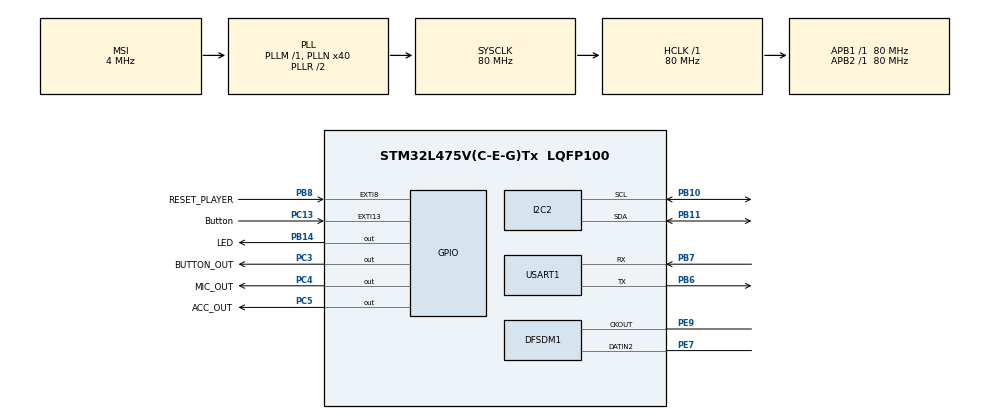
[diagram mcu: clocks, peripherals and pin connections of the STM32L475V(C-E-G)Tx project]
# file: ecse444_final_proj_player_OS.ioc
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DFSDM1.Divider=25
DFSDM1.FastMode_reg_FIL0=ENABLE
DFSDM1.FastMode_reg_FIL1=ENABLE
DFSDM1.Filter_regChannel_FIL0=DFSDM_CHANNEL_1
DFSDM1.Filter_regChannel_FIL1=DFSDM_CHANNEL_2
DFSDM1.Fosr_FIL0=200
DFSDM1.Fosr_FIL1=200
FREERTOS.Tasks01=defaultTask,0,128,StartDefaultTask,Default,NULL,Dynamic,NULL,NULL;accelerometer,0,128,start_accelero,Default,NULL,Dynamic,NULL,NULL;button,0,128,start_button,Default,NULL,Dynamic,NULL,NULL;microphone,0,128,start_mic,Default,NULL,Dynamic,NULL,NULL
I2C2.Timing=0x10909CEC
Mcu.Family=STM32L4
Mcu.Name=STM32L475V(C-E-G)Tx
Mcu.Package=LQFP100
NVIC.EXTI15_10_IRQn=true\:5\:0\:false\:false\:true\:true\:true\:true
NVIC.EXTI9_5_IRQn=true\:5\:0\:false\:false\:true\:true\:true\:true
NVIC.PriorityGroup=NVIC_PRIORITYGROUP_4
NVIC.TIM1_TRG_COM_TIM17_IRQn=true\:15\:0\:false\:false\:true\:false\:false\:true
NVIC.TimeBase=TIM1_TRG_COM_TIM17_IRQn
NVIC.TimeBaseIP=TIM17
PA13\ (JTMS-SWDIO).Mode=Trace_Asynchronous_SW
PA13\ (JTMS-SWDIO).Signal=SYS_JTMS-SWDIO
PA14\ (JTCK-SWCLK).Mode=Trace_Asynchronous_SW
PA14\ (JTCK-SWCLK).Signal=SYS_JTCK-SWCLK
PB10.Mode=I2C
PB10.Signal=I2C2_SCL
PB11.Mode=I2C
PB11.Signal=I2C2_SDA
PB14.GPIO_Label=LED
PB14.Signal=GPIO_Output
PB3\ (JTDO-TRACESWO).Mode=Trace_Asynchronous_SW
PB3\ (JTDO-TRACESWO).Signal=SYS_JTDO-SWO
PB6.Mode=Asynchronous
PB6.Signal=USART1_TX
PB7.Mode=Asynchronous
PB7.Signal=USART1_RX
PB8.GPIO_Label=RESET_PLAYER
PB8.GPIO_ModeDefaultEXTI=GPIO_MODE_IT_RISING_FALLING
PB8.Signal=GPXTI8
PC13.GPIO_Label=Button
PC13.Signal=GPXTI13
PC3.GPIO_Label=BUTTON_OUT
PC3.Signal=GPIO_Output
PC4.GPIO_Label=MIC_OUT
PC4.Signal=GPIO_Output
PC5.GPIO_Label=ACC_OUT
PC5.Signal=GPIO_Output
PE7.Signal=S_DATAIN2DFSDM1
PE9.Signal=S_CKOUTDFSDM1
ProjectManager.HeapSize=0x200
ProjectManager.StackSize=0x400
ProjectManager.TargetToolchain=STM32CubeIDE
RCC.ADCFreq_Value=48000000
RCC.AHBFreq_Value=80000000
RCC.APB1Freq_Value=80000000
RCC.APB1TimFreq_Value=80000000
RCC.APB2Freq_Value=80000000
RCC.APB2TimFreq_Value=80000000
RCC.CortexFreq_Value=80000000
RCC.HCLKFreq_Value=80000000
RCC.HSE_VALUE=8000000
RCC.HSI_VALUE=16000000
RCC.LSE_VALUE=32768
RCC.MSI_VALUE=4000000
RCC.PLLN=40
RCC.PLLSAI1N=24
RCC.SYSCLKFreq_VALUE=80000000
RCC.SYSCLKSource=RCC_SYSCLKSOURCE_PLLCLK
RCC.USBFreq_Value=48000000
RCC.VCOOutputFreq_Value=160000000
SH.S_CKOUTDFSDM1.0=DFSDM1_CKOUT,PDM_SPI_input_from_ch2_and_internal_clock
SH.S_CKOUTDFSDM1.1=DFSDM1_CKOUT,PDM_SPI_Input_from_ch12_and_Internal_Clock
SH.S_DATAIN2DFSDM1.0=DFSDM1_DATIN2,PDM_SPI_input_from_ch2_and_internal_clock
SH.S_DATAIN2DFSDM1.1=DFSDM1_DATIN2,PDM_SPI_Input_from_ch12_and_Internal_Clock
USART1.VirtualMode-Asynchronous=VM_ASYNC
VP_FREERTOS_VS_CMSIS_V1.Mode=CMSIS_V1
VP_SYS_VS_tim17.Mode=TIM17
VP_TIM2_VS_ClockSourceINT.Mode=Internal
board=B-L475E-IOT01A1

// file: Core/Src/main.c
/* USER CODE BEGIN Header */
/**
  ******************************************************************************
  * @file           : main.c
  * @brief          : Main program body
  ******************************************************************************
  * @attention
  *
  * <h2><center>&copy; Copyright (c) 2021 STMicroelectronics.
  * All rights reserved.</center></h2>
  *
  * This software component is licensed by ST under BSD 3-Clause license,
  * the "License"; You may not use this file except in compliance with the
  * License. You may obtain a copy of the License at:
  *                        opensource.org/licenses/BSD-3-Clause
  *
  ******************************************************************************
  */
/* USER CODE END Header */
#include "main.h"
#include "cmsis_os.h"

/* USER CODE BEGIN Includes */
#include "stm32l475e_iot01.h"
#include "stm32l475e_iot01_accelero.h"

#include <string.h>
#include <stdio.h>
/* USER CODE END Includes */

DFSDM_Filter_HandleTypeDef hdfsdm1_filter0;
DFSDM_Filter_HandleTypeDef hdfsdm1_filter1;
DFSDM_Channel_HandleTypeDef hdfsdm1_channel1;
DFSDM_Channel_HandleTypeDef hdfsdm1_channel2;

I2C_HandleTypeDef hi2c2;

TIM_HandleTypeDef htim2;

UART_HandleTypeDef huart1;

osThreadId defaultTaskHandle;
osThreadId accelerometerHandle;
osThreadId buttonHandle;
osThreadId microphoneHandle;
/* USER CODE BEGIN PV */
uint32_t sensor_number = 1; // 0 for accelerometer, 1 for number_of_turns
char uart_buffer[1000];

int16_t accelero_XYZ[3] = {0};
int32_t prev_accel = 0;
volatile uint32_t number_of_turns = 0;

uint32_t channel_1 = 1, channel_2 = 2;
int32_t value1, value2;
int32_t threshold = 10;

volatile uint8_t count = 0;

/* USER CODE END PV */

void SystemClock_Config(void);
static void MX_GPIO_Init(void);
static void MX_I2C2_Init(void);
static void MX_USART1_UART_Init(void);
static void MX_TIM2_Init(void);
static void MX_DFSDM1_Init(void);
void StartDefaultTask(void const * argument);
void start_accelero(void const * argument);
void start_button(void const * argument);
void start_mic(void const * argument);

int main(void)
{

  /* MCU Configuration--------------------------------------------------------*/

  /* Reset of all peripherals, Initializes the Flash interface and the Systick. */
  HAL_Init();

  /* Configure the system clock */
  SystemClock_Config();

  /* Initialize all configured peripherals */
  MX_GPIO_Init();
  MX_I2C2_Init();
  MX_USART1_UART_Init();
  MX_TIM2_Init();
  MX_DFSDM1_Init();
  /* USER CODE BEGIN 2 */

  BSP_ACCELERO_Init();

  /* USER CODE END 2 */

  /* Create the thread(s) */
  /* definition and creation of defaultTask */
  osThreadDef(defaultTask, StartDefaultTask, osPriorityNormal, 0, 128);
  defaultTaskHandle = osThreadCreate(osThread(defaultTask), NULL);

  /* definition and creation of accelerometer */
  osThreadDef(accelerometer, start_accelero, osPriorityNormal, 0, 128);
  accelerometerHandle = osThreadCreate(osThread(accelerometer), NULL);

  /* definition and creation of button */
  osThreadDef(button, start_button, osPriorityNormal, 0, 128);
  buttonHandle = osThreadCreate(osThread(button), NULL);

  /* definition and creation of microphone */
  osThreadDef(microphone, start_mic, osPriorityNormal, 0, 128);
  microphoneHandle = osThreadCreate(osThread(microphone), NULL);

  /* Start scheduler */
  osKernelStart();

  /* We should never get here as control is now taken by the scheduler */
  /* Infinite loop */
  while (1)
  {

  }
}

void SystemClock_Config(void)
{
  RCC_OscInitTypeDef RCC_OscInitStruct = {0};
  RCC_ClkInitTypeDef RCC_ClkInitStruct = {0};

  /** Configure the main internal regulator output voltage
  */
  if (HAL_PWREx_ControlVoltageScaling(PWR_REGULATOR_VOLTAGE_SCALE1) != HAL_OK)
  {
    Error_Handler();
  }
  /** Initializes the RCC Oscillators according to the specified parameters
  * in the RCC_OscInitTypeDef structure.
  */
  RCC_OscInitStruct.OscillatorType = RCC_OSCILLATORTYPE_MSI;
  RCC_OscInitStruct.MSIState = RCC_MSI_ON;
  RCC_OscInitStruct.MSICalibrationValue = 0;
  RCC_OscInitStruct.MSIClockRange = RCC_MSIRANGE_6;
  RCC_OscInitStruct.PLL.PLLState = RCC_PLL_ON;
  RCC_OscInitStruct.PLL.PLLSource = RCC_PLLSOURCE_MSI;
  RCC_OscInitStruct.PLL.PLLM = 1;
  RCC_OscInitStruct.PLL.PLLN = 40;
  RCC_OscInitStruct.PLL.PLLP = RCC_PLLP_DIV7;
  RCC_OscInitStruct.PLL.PLLQ = RCC_PLLQ_DIV2;
  RCC_OscInitStruct.PLL.PLLR = RCC_PLLR_DIV2;
  if (HAL_RCC_OscConfig(&RCC_OscInitStruct) != HAL_OK)
  {
    Error_Handler();
  }
  /** Initializes the CPU, AHB and APB buses clocks
  */
  RCC_ClkInitStruct.ClockType = RCC_CLOCKTYPE_HCLK|RCC_CLOCKTYPE_SYSCLK
                              |RCC_CLOCKTYPE_PCLK1|RCC_CLOCKTYPE_PCLK2;
  RCC_ClkInitStruct.SYSCLKSource = RCC_SYSCLKSOURCE_PLLCLK;
  RCC_ClkInitStruct.AHBCLKDivider = RCC_SYSCLK_DIV1;
  RCC_ClkInitStruct.APB1CLKDivider = RCC_HCLK_DIV1;
  RCC_ClkInitStruct.APB2CLKDivider = RCC_HCLK_DIV1;

  if (HAL_RCC_ClockConfig(&RCC_ClkInitStruct, FLASH_LATENCY_4) != HAL_OK)
  {
    Error_Handler();
  }
}

static void MX_DFSDM1_Init(void)
{

  hdfsdm1_filter0.Instance = DFSDM1_Filter0;
  hdfsdm1_filter0.Init.RegularParam.Trigger = DFSDM_FILTER_SW_TRIGGER;
  hdfsdm1_filter0.Init.RegularParam.FastMode = ENABLE;
  hdfsdm1_filter0.Init.RegularParam.DmaMode = DISABLE;
  hdfsdm1_filter0.Init.FilterParam.SincOrder = DFSDM_FILTER_FASTSINC_ORDER;
  hdfsdm1_filter0.Init.FilterParam.Oversampling = 200;
  hdfsdm1_filter0.Init.FilterParam.IntOversampling = 1;
  if (HAL_DFSDM_FilterInit(&hdfsdm1_filter0) != HAL_OK)
  {
    Error_Handler();
  }
  hdfsdm1_filter1.Instance = DFSDM1_Filter1;
  hdfsdm1_filter1.Init.RegularParam.Trigger = DFSDM_FILTER_SW_TRIGGER;
  hdfsdm1_filter1.Init.RegularParam.FastMode = ENABLE;
  hdfsdm1_filter1.Init.RegularParam.DmaMode = DISABLE;
  hdfsdm1_filter1.Init.FilterParam.SincOrder = DFSDM_FILTER_FASTSINC_ORDER;
  hdfsdm1_filter1.Init.FilterParam.Oversampling = 200;
  hdfsdm1_filter1.Init.FilterParam.IntOversampling = 1;
  if (HAL_DFSDM_FilterInit(&hdfsdm1_filter1) != HAL_OK)
  {
    Error_Handler();
  }
  hdfsdm1_channel1.Instance = DFSDM1_Channel1;
  hdfsdm1_channel1.Init.OutputClock.Activation = ENABLE;
  hdfsdm1_channel1.Init.OutputClock.Selection = DFSDM_CHANNEL_OUTPUT_CLOCK_SYSTEM;
  hdfsdm1_channel1.Init.OutputClock.Divider = 25;
  hdfsdm1_channel1.Init.Input.Multiplexer = DFSDM_CHANNEL_EXTERNAL_INPUTS;
  hdfsdm1_channel1.Init.Input.DataPacking = DFSDM_CHANNEL_STANDARD_MODE;
  hdfsdm1_channel1.Init.Input.Pins = DFSDM_CHANNEL_FOLLOWING_CHANNEL_PINS;
  hdfsdm1_channel1.Init.SerialInterface.Type = DFSDM_CHANNEL_SPI_RISING;
  hdfsdm1_channel1.Init.SerialInterface.SpiClock = DFSDM_CHANNEL_SPI_CLOCK_INTERNAL;
  hdfsdm1_channel1.Init.Awd.FilterOrder = DFSDM_CHANNEL_FASTSINC_ORDER;
  hdfsdm1_channel1.Init.Awd.Oversampling = 1;
  hdfsdm1_channel1.Init.Offset = 0;
  hdfsdm1_channel1.Init.RightBitShift = 0x00;
  if (HAL_DFSDM_ChannelInit(&hdfsdm1_channel1) != HAL_OK)
  {
    Error_Handler();
  }
  hdfsdm1_channel2.Instance = DFSDM1_Channel2;
  hdfsdm1_channel2.Init.OutputClock.Activation = ENABLE;
  hdfsdm1_channel2.Init.OutputClock.Selection = DFSDM_CHANNEL_OUTPUT_CLOCK_SYSTEM;
  hdfsdm1_channel2.Init.OutputClock.Divider = 25;
  hdfsdm1_channel2.Init.Input.Multiplexer = DFSDM_CHANNEL_EXTERNAL_INPUTS;
  hdfsdm1_channel2.Init.Input.DataPacking = DFSDM_CHANNEL_STANDARD_MODE;
  hdfsdm1_channel2.Init.Input.Pins = DFSDM_CHANNEL_SAME_CHANNEL_PINS;
  hdfsdm1_channel2.Init.SerialInterface.Type = DFSDM_CHANNEL_SPI_RISING;
  hdfsdm1_channel2.Init.SerialInterface.SpiClock = DFSDM_CHANNEL_SPI_CLOCK_INTERNAL;
  hdfsdm1_channel2.Init.Awd.FilterOrder = DFSDM_CHANNEL_FASTSINC_ORDER;
  hdfsdm1_channel2.Init.Awd.Oversampling = 1;
  hdfsdm1_channel2.Init.Offset = 0;
  hdfsdm1_channel2.Init.RightBitShift = 0x00;
  if (HAL_DFSDM_ChannelInit(&hdfsdm1_channel2) != HAL_OK)
  {
    Error_Handler();
  }
  if (HAL_DFSDM_FilterConfigRegChannel(&hdfsdm1_filter0, DFSDM_CHANNEL_1, DFSDM_CONTINUOUS_CONV_ON) != HAL_OK)
  {
    Error_Handler();
  }
  if (HAL_DFSDM_FilterConfigRegChannel(&hdfsdm1_filter1, DFSDM_CHANNEL_2, DFSDM_CONTINUOUS_CONV_ON) != HAL_OK)
  {
    Error_Handler();
  }

}

static void MX_I2C2_Init(void)
{

  hi2c2.Instance = I2C2;
  hi2c2.Init.Timing = 0x10909CEC;
  hi2c2.Init.OwnAddress1 = 0;
  hi2c2.Init.AddressingMode = I2C_ADDRESSINGMODE_7BIT;
  hi2c2.Init.DualAddressMode = I2C_DUALADDRESS_DISABLE;
  hi2c2.Init.OwnAddress2 = 0;
  hi2c2.Init.OwnAddress2Masks = I2C_OA2_NOMASK;
  hi2c2.Init.GeneralCallMode = I2C_GENERALCALL_DISABLE;
  hi2c2.Init.NoStretchMode = I2C_NOSTRETCH_DISABLE;
  if (HAL_I2C_Init(&hi2c2) != HAL_OK)
  {
    Error_Handler();
  }
  /** Configure Analogue filter
  */
  if (HAL_I2CEx_ConfigAnalogFilter(&hi2c2, I2C_ANALOGFILTER_ENABLE) != HAL_OK)
  {
    Error_Handler();
  }
  /** Configure Digital filter
  */
  if (HAL_I2CEx_ConfigDigitalFilter(&hi2c2, 0) != HAL_OK)
  {
    Error_Handler();
  }

}

static void MX_TIM2_Init(void)
{

  TIM_ClockConfigTypeDef sClockSourceConfig = {0};
  TIM_MasterConfigTypeDef sMasterConfig = {0};

  htim2.Instance = TIM2;
  htim2.Init.Prescaler = 0;
  htim2.Init.CounterMode = TIM_COUNTERMODE_UP;
  htim2.Init.Period = 4294967295;
  htim2.Init.ClockDivision = TIM_CLOCKDIVISION_DIV1;
  htim2.Init.AutoReloadPreload = TIM_AUTORELOAD_PRELOAD_DISABLE;
  if (HAL_TIM_Base_Init(&htim2) != HAL_OK)
  {
    Error_Handler();
  }
  sClockSourceConfig.ClockSource = TIM_CLOCKSOURCE_INTERNAL;
  if (HAL_TIM_ConfigClockSource(&htim2, &sClockSourceConfig) != HAL_OK)
  {
    Error_Handler();
  }
  sMasterConfig.MasterOutputTrigger = TIM_TRGO_RESET;
  sMasterConfig.MasterSlaveMode = TIM_MASTERSLAVEMODE_DISABLE;
  if (HAL_TIMEx_MasterConfigSynchronization(&htim2, &sMasterConfig) != HAL_OK)
  {
    Error_Handler();
  }

}

static void MX_USART1_UART_Init(void)
{

  huart1.Instance = USART1;
  huart1.Init.BaudRate = 115200;
  huart1.Init.WordLength = UART_WORDLENGTH_8B;
  huart1.Init.StopBits = UART_STOPBITS_1;
  huart1.Init.Parity = UART_PARITY_NONE;
  huart1.Init.Mode = UART_MODE_TX_RX;
  huart1.Init.HwFlowCtl = UART_HWCONTROL_NONE;
  huart1.Init.OverSampling = UART_OVERSAMPLING_16;
  huart1.Init.OneBitSampling = UART_ONE_BIT_SAMPLE_DISABLE;
  huart1.AdvancedInit.AdvFeatureInit = UART_ADVFEATURE_NO_INIT;
  if (HAL_UART_Init(&huart1) != HAL_OK)
  {
    Error_Handler();
  }

}

static void MX_GPIO_Init(void)
{
  GPIO_InitTypeDef GPIO_InitStruct = {0};

  /* GPIO Ports Clock Enable */
  __HAL_RCC_GPIOC_CLK_ENABLE();
  __HAL_RCC_GPIOE_CLK_ENABLE();
  __HAL_RCC_GPIOB_CLK_ENABLE();
  __HAL_RCC_GPIOA_CLK_ENABLE();

  /*Configure GPIO pin Output Level */
  HAL_GPIO_WritePin(GPIOC, BUTTON_OUT_Pin|MIC_OUT_Pin|ACC_OUT_Pin, GPIO_PIN_RESET);

  /*Configure GPIO pin Output Level */
  HAL_GPIO_WritePin(LED_GPIO_Port, LED_Pin, GPIO_PIN_RESET);

  /*Configure GPIO pin : Button_Pin */
  GPIO_InitStruct.Pin = Button_Pin;
  GPIO_InitStruct.Mode = GPIO_MODE_IT_RISING;
  GPIO_InitStruct.Pull = GPIO_NOPULL;
  HAL_GPIO_Init(Button_GPIO_Port, &GPIO_InitStruct);

  /*Configure GPIO pins : BUTTON_OUT_Pin MIC_OUT_Pin ACC_OUT_Pin */
  GPIO_InitStruct.Pin = BUTTON_OUT_Pin|MIC_OUT_Pin|ACC_OUT_Pin;
  GPIO_InitStruct.Mode = GPIO_MODE_OUTPUT_PP;
  GPIO_InitStruct.Pull = GPIO_NOPULL;
  GPIO_InitStruct.Speed = GPIO_SPEED_FREQ_LOW;
  HAL_GPIO_Init(GPIOC, &GPIO_InitStruct);

  /*Configure GPIO pin : LED_Pin */
  GPIO_InitStruct.Pin = LED_Pin;
  GPIO_InitStruct.Mode = GPIO_MODE_OUTPUT_PP;
  GPIO_InitStruct.Pull = GPIO_NOPULL;
  GPIO_InitStruct.Speed = GPIO_SPEED_FREQ_LOW;
  HAL_GPIO_Init(LED_GPIO_Port, &GPIO_InitStruct);

  /*Configure GPIO pin : RESET_PLAYER_Pin */
  GPIO_InitStruct.Pin = RESET_PLAYER_Pin;
  GPIO_InitStruct.Mode = GPIO_MODE_IT_RISING_FALLING;
  GPIO_InitStruct.Pull = GPIO_NOPULL;
  HAL_GPIO_Init(RESET_PLAYER_GPIO_Port, &GPIO_InitStruct);

  /* EXTI interrupt init*/
  HAL_NVIC_SetPriority(EXTI9_5_IRQn, 5, 0);
  HAL_NVIC_EnableIRQ(EXTI9_5_IRQn);

  HAL_NVIC_SetPriority(EXTI15_10_IRQn, 5, 0);
  HAL_NVIC_EnableIRQ(EXTI15_10_IRQn);

}

/* USER CODE BEGIN 4 */
void HAL_GPIO_EXTI_Callback(uint16_t GPIO_Pin)
{
	if (GPIO_Pin == RESET_PLAYER_Pin)
	{
		number_of_turns = 0;
		count = 0;
	}
}
/* USER CODE END 4 */

void StartDefaultTask(void const * argument)
{
  /* USER CODE BEGIN 5 */
  /* Infinite loop */
  for(;;)
  {
    osDelay(100);
    if(sensor_number == 0){
			sprintf((char*)uart_buffer, "Accelerometer = %.2d, %.2d, %.2d\r\n", accelero_XYZ[0], accelero_XYZ[1], accelero_XYZ[2]);
	}
    else if(sensor_number == 1){
		sprintf((char*)uart_buffer, "Number of Turns = %.2d\r\n", number_of_turns);
    }
	else
	{
		continue;
	}

    HAL_UART_Transmit(&huart1, uart_buffer, strlen((char const *) uart_buffer), 1000);
  }
  /* USER CODE END 5 */
}

void start_accelero(void const * argument)
{
  /* USER CODE BEGIN start_accelero */
  /* Infinite loop */
  for(;;)
  {
    osDelay(50);

    prev_accel = accelero_XYZ[2];
    BSP_ACCELERO_AccGetXYZ(accelero_XYZ);
	if(accelero_XYZ[2]*prev_accel < 0){
		number_of_turns++;
	}

    if(number_of_turns >= 16){
		number_of_turns = 0;
		HAL_GPIO_TogglePin(ACC_OUT_GPIO_Port, ACC_OUT_Pin);
		HAL_GPIO_TogglePin(LED_GPIO_Port, LED_Pin);
    }
  }
  /* USER CODE END start_accelero */
}

void start_button(void const * argument)
{
  /* USER CODE BEGIN start_button */
  /* Infinite loop */
  for(;;)
  {
    osDelay(200);
    if(HAL_GPIO_ReadPin(Button_GPIO_Port, Button_Pin) == GPIO_PIN_RESET){
    	HAL_GPIO_TogglePin(LED_GPIO_Port, LED_Pin);
    	HAL_GPIO_TogglePin(BUTTON_OUT_GPIO_Port, BUTTON_OUT_Pin);
    }
  }
  /* USER CODE END start_button */
}

void start_mic(void const * argument)
{
  /* USER CODE BEGIN start_mic */
  /* Infinite loop */
  for(;;)
  {
    osDelay(10);

    HAL_DFSDM_FilterRegularStart(&hdfsdm1_filter0);
    HAL_DFSDM_FilterRegularStart(&hdfsdm1_filter1);

    count = 0;
    HAL_Delay(440);
	while (count < 255){
		// check if ready
		if(HAL_DFSDM_FilterPollForRegConversion(&hdfsdm1_filter0, 1000) == HAL_OK){
			// get value and shift them by 8 to the right
			value1 = HAL_DFSDM_FilterGetRegularValue(&hdfsdm1_filter0, &channel_1) >> 8;
			value2 = HAL_DFSDM_FilterGetRegularValue(&hdfsdm1_filter1, &channel_2) >> 8;
			if (value1 > threshold || value2 > threshold || value1 < -threshold || value2 < -threshold){
				count++;
			}
		}
	}
	HAL_GPIO_TogglePin(LED_GPIO_Port, LED_Pin);
	HAL_GPIO_TogglePin(MIC_OUT_GPIO_Port, MIC_OUT_Pin);
  }
  /* USER CODE END start_mic */
}

void HAL_TIM_PeriodElapsedCallback(TIM_HandleTypeDef *htim)
{
  if (htim->Instance == TIM17) {
    HAL_IncTick();
  }
}

void Error_Handler(void)
{
  __disable_irq();
  while (1)
  {
  }
}

/************************ (C) COPYRIGHT STMicroelectronics *****END OF FILE****/
